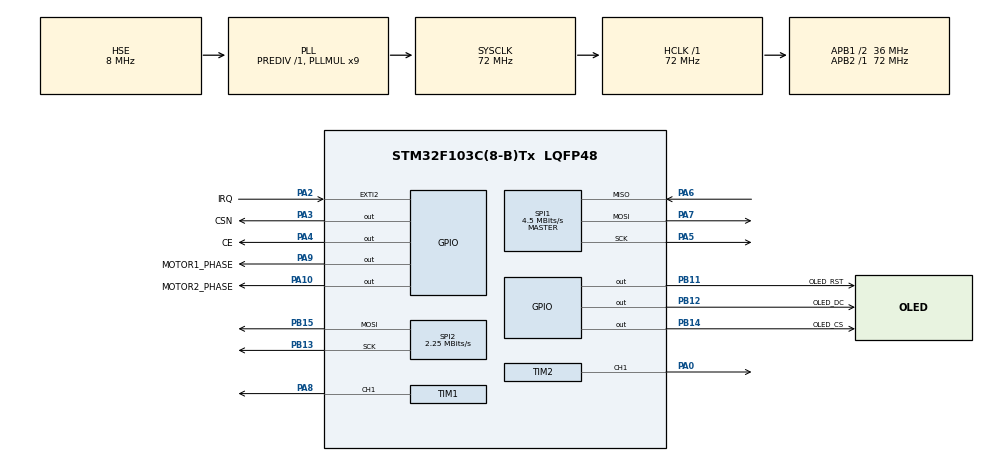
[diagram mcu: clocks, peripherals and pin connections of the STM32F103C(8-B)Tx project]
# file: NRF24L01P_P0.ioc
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Mcu.Family=STM32F1
Mcu.Name=STM32F103C(8-B)Tx
Mcu.Package=LQFP48
NVIC.EXTI2_IRQn=true\:0\:0\:false\:false\:true\:true\:true\:true
NVIC.PriorityGroup=NVIC_PRIORITYGROUP_4
PA0-WKUP.Signal=S_TIM2_CH1_ETR
PA10.GPIO_Label=MOTOR2_PHASE
PA10.GPIO_Speed=GPIO_SPEED_FREQ_HIGH
PA10.PinState=GPIO_PIN_SET
PA10.Signal=GPIO_Output
PA13.Mode=Serial_Wire
PA13.Signal=SYS_JTMS-SWDIO
PA14.Mode=Serial_Wire
PA14.Signal=SYS_JTCK-SWCLK
PA2.GPIO_Label=IRQ
PA2.GPIO_ModeDefaultEXTI=GPIO_MODE_IT_FALLING
PA2.GPIO_PuPd=GPIO_PULLUP
PA2.Signal=GPXTI2
PA3.GPIO_Label=CSN
PA3.GPIO_PuPd=GPIO_PULLUP
PA3.GPIO_Speed=GPIO_SPEED_FREQ_HIGH
PA3.PinState=GPIO_PIN_SET
PA3.Signal=GPIO_Output
PA4.GPIO_Label=CE
PA4.GPIO_PuPd=GPIO_PULLDOWN
PA4.GPIO_Speed=GPIO_SPEED_FREQ_HIGH
PA4.Signal=GPIO_Output
PA5.Mode=Full_Duplex_Master
PA5.Signal=SPI1_SCK
PA6.Mode=Full_Duplex_Master
PA6.Signal=SPI1_MISO
PA7.Mode=Full_Duplex_Master
PA7.Signal=SPI1_MOSI
PA8.Signal=S_TIM1_CH1
PA9.GPIO_Label=MOTOR1_PHASE
PA9.GPIO_Speed=GPIO_SPEED_FREQ_HIGH
PA9.Signal=GPIO_Output
PB11.GPIO_Label=OLED_RST
PB11.GPIO_PuPd=GPIO_PULLUP
PB11.GPIO_Speed=GPIO_SPEED_FREQ_HIGH
PB11.PinState=GPIO_PIN_SET
PB11.Signal=GPIO_Output
PB12.GPIO_Label=OLED_DC
PB12.GPIO_PuPd=GPIO_PULLUP
PB12.GPIO_Speed=GPIO_SPEED_FREQ_HIGH
PB12.PinState=GPIO_PIN_SET
PB12.Signal=GPIO_Output
PB13.Mode=TX_Only_Simplex_Unidirect_Master
PB13.Signal=SPI2_SCK
PB14.GPIO_Label=OLED_CS
PB14.GPIO_PuPd=GPIO_PULLUP
PB14.GPIO_Speed=GPIO_SPEED_FREQ_HIGH
PB14.PinState=GPIO_PIN_SET
PB14.Signal=GPIO_Output
PB15.Mode=TX_Only_Simplex_Unidirect_Master
PB15.Signal=SPI2_MOSI
PD0-OSC_IN.Mode=HSE-External-Oscillator
PD0-OSC_IN.Signal=RCC_OSC_IN
PD1-OSC_OUT.Mode=HSE-External-Oscillator
PD1-OSC_OUT.Signal=RCC_OSC_OUT
ProjectManager.HeapSize=0x200
ProjectManager.StackSize=0x400
ProjectManager.TargetToolchain=STM32CubeIDE
RCC.AHBFreq_Value=72000000
RCC.APB1CLKDivider=RCC_HCLK_DIV2
RCC.APB1Freq_Value=36000000
RCC.APB1TimFreq_Value=72000000
RCC.APB2Freq_Value=72000000
RCC.APB2TimFreq_Value=72000000
RCC.HCLKFreq_Value=72000000
RCC.PLLMUL=RCC_PLL_MUL9
RCC.PLLSourceVirtual=RCC_PLLSOURCE_HSE
RCC.SYSCLKFreq_VALUE=72000000
RCC.SYSCLKSource=RCC_SYSCLKSOURCE_PLLCLK
RCC.USBFreq_Value=72000000
SH.S_TIM1_CH1.0=TIM1_CH1,PWM Generation1 CH1
SH.S_TIM2_CH1_ETR.0=TIM2_CH1,PWM Generation1 CH1
SPI1.BaudRatePrescaler=SPI_BAUDRATEPRESCALER_16
SPI1.CalculateBaudRate=4.5 MBits/s
SPI1.Direction=SPI_DIRECTION_2LINES
SPI1.Mode=SPI_MODE_MASTER
SPI1.VirtualType=VM_MASTER
SPI2.BaudRatePrescaler=SPI_BAUDRATEPRESCALER_16
SPI2.CalculateBaudRate=2.25 MBits/s
SPI2.Direction=SPI_DIRECTION_2LINES
SPI2.Mode=SPI_MODE_MASTER
SPI2.VirtualType=VM_MASTER
TIM1.Channel-PWM\ Generation1\ CH1=TIM_CHANNEL_1
TIM1.Period=99
TIM1.Prescaler=35
TIM2.Channel-PWM\ Generation1\ CH1=TIM_CHANNEL_1
TIM2.Period=99
TIM2.Prescaler=35
VP_TIM1_VS_ClockSourceINT.Mode=Internal
VP_TIM2_VS_ClockSourceINT.Mode=Internal
board=custom

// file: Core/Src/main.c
/* USER CODE BEGIN Header */
/**
 ******************************************************************************
 * @file           : main.c
 * @brief          : Main program body
 ******************************************************************************
 * @attention
 *
 * Copyright (c) 2023 STMicroelectronics.
 * All rights reserved.
 *
 * This software is licensed under terms that can be found in the LICENSE file
 * in the root directory of this software component.
 * If no LICENSE file comes with this software, it is provided AS-IS.
 *
 ******************************************************************************
 */
/* USER CODE END Header */
#include "main.h"

/* USER CODE BEGIN Includes */
#include "stdio.h"
#include "stdlib.h"
#include "string.h"
#include "nrf24l01p.h"
//#include "uart.h"
#include "u8g2.h"

/* USER CODE END Includes */

SPI_HandleTypeDef hspi1;
SPI_HandleTypeDef hspi2;

TIM_HandleTypeDef htim1;
TIM_HandleTypeDef htim2;

/* USER CODE BEGIN PV */
uint8_t nrf24l01p_rx_flag = 0;

uint16_t adc_value1 = 0;
uint16_t adc_value2 = 0;
int16_t x = 0;
int16_t y = 0;

uint8_t buff[10];

//extern ring_buffer_t uart_rx;

//uint8_t address[5]={0xE7,0xE7,0xE7,0xE7,0xE7};

uint8_t P0_address[6] = "node0";
uint8_t P1_address[6] = "node1";

uint8_t rx_data[NRF24L01P_PAYLOAD_LENGTH] = { 0 };
//uint8_t tx_data[NRF24L01P_PAYLOAD_LENGTH] = { 0 };
/* USER CODE END PV */

void SystemClock_Config(void);
static void MX_GPIO_Init(void);
static void MX_SPI1_Init(void);
static void MX_SPI2_Init(void);
static void MX_TIM1_Init(void);
static void MX_TIM2_Init(void);
/* USER CODE BEGIN PFP */
void HAL_GPIO_EXTI_Callback(uint16_t GPIO_Pin);
/* USER CODE END PFP */

/* USER CODE BEGIN 0 */
extern uint8_t u8x8_stm32_gpio_and_delay(u8x8_t *u8x8, uint8_t msg,
		uint8_t arg_int, void *arg_ptr);
extern uint8_t u8x8_byte_stm32_hw_spi(u8x8_t *u8x8, uint8_t msg,
		uint8_t arg_int, void *arg_ptr);

static u8g2_t u8g2;
/* USER CODE END 0 */

int main(void) {

	/* MCU Configuration--------------------------------------------------------*/

	/* Reset of all peripherals, Initializes the Flash interface and the Systick. */
	HAL_Init();

	/* Configure the system clock */
	SystemClock_Config();

	/* Initialize all configured peripherals */
	MX_GPIO_Init();
	MX_SPI1_Init();
	MX_SPI2_Init();
	MX_TIM1_Init();
	MX_TIM2_Init();

	/* USER CODE BEGIN 2 */

	u8g2_Setup_ssd1306_128x64_noname_f(&u8g2, U8G2_R0, u8x8_byte_stm32_hw_spi,
			u8x8_stm32_gpio_and_delay);

	u8g2_InitDisplay(&u8g2);
	u8g2_SetPowerSave(&u8g2, 0);
	u8g2_SetFont(&u8g2, u8g2_font_inb16_mr);

	nrf24l01p_rx_init(2500, _1Mbps, P0_address, P1_address);
	nrf24l01p_prx_mode();

	HAL_TIM_PWM_Start(&htim1, TIM_CHANNEL_1);
	HAL_TIM_PWM_Start(&htim2, TIM_CHANNEL_1);

	/* USER CODE END 2 */

	/* Infinite loop */
	while (1) {

		/* USER CODE BEGIN 3 */
			if (nrf24l01p_rx_flag == 1) {

				nrf24l01p_rx_flag = 0;

				nrf24l01p_rx_receive(rx_data, sizeof(rx_data));

				adc_value1 = rx_data[0];
				adc_value1 |= (((uint16_t) rx_data[1]) << 8);

				adc_value2 = rx_data[2];
				adc_value2 |= (((uint16_t) rx_data[3]) << 8);

				x = adc_value1 - 2048;
				y = adc_value2 - 2048;

				memset(buff, 0, sizeof(buff));
				sprintf(buff, "%d,%d\n", y, x);

				u8g2_FirstPage(&u8g2);
				do {
					u8g2_DrawStr(&u8g2, 5, 21, (const char*) buff);
				} while (u8g2_NextPage(&u8g2));

				if (x >= 0) {
					HAL_GPIO_WritePin(MOTOR1_PHASE_GPIO_Port, MOTOR1_PHASE_Pin,
							GPIO_PIN_RESET);
					if (y >= 0) {
						HAL_GPIO_WritePin(MOTOR2_PHASE_GPIO_Port,
								MOTOR2_PHASE_Pin, GPIO_PIN_RESET);
						uint8_t i = 100 * x / 2048;
						uint8_t j = 100 * y / 2048;
						htim1.Instance->CCR1 = i;
						htim2.Instance->CCR1 = j;

					} else if (y < 0) {
						HAL_GPIO_WritePin(MOTOR2_PHASE_GPIO_Port,
								MOTOR2_PHASE_Pin, GPIO_PIN_SET);
						uint8_t i = 100 * x / 2048;
						uint8_t j = 100 * (y * (-1)) / 2048;
						htim1.Instance->CCR1 = i;
						htim2.Instance->CCR1 = j;
					}
				} else if (x < 0) {
					HAL_GPIO_WritePin(MOTOR1_PHASE_GPIO_Port, MOTOR1_PHASE_Pin,
							GPIO_PIN_SET);
					if (y >= 0) {
						HAL_GPIO_WritePin(MOTOR2_PHASE_GPIO_Port,
						MOTOR2_PHASE_Pin, GPIO_PIN_RESET);

						uint8_t i = 100 * (x * (-1)) / 2048;
						uint8_t j = 100 * y / 2048;
						htim1.Instance->CCR1 = i;
						htim2.Instance->CCR1 = j;
					} else if (y < 0) {
						HAL_GPIO_WritePin(MOTOR2_PHASE_GPIO_Port,
						MOTOR2_PHASE_Pin, GPIO_PIN_SET);

						uint8_t i = 100 * (x * (-1)) / 2048;
						uint8_t j = 100 * (y * (-1)) / 2048;
						htim1.Instance->CCR1 = i;
						htim2.Instance->CCR1 = j;
					}
				}

				HAL_Delay(100);
			}
	}
	/* USER CODE END 3 */
}

void SystemClock_Config(void) {
	RCC_OscInitTypeDef RCC_OscInitStruct = { 0 };
	RCC_ClkInitTypeDef RCC_ClkInitStruct = { 0 };

	/** Initializes the RCC Oscillators according to the specified parameters
	 * in the RCC_OscInitTypeDef structure.
	 */
	RCC_OscInitStruct.OscillatorType = RCC_OSCILLATORTYPE_HSE;
	RCC_OscInitStruct.HSEState = RCC_HSE_ON;
	RCC_OscInitStruct.HSEPredivValue = RCC_HSE_PREDIV_DIV1;
	RCC_OscInitStruct.HSIState = RCC_HSI_ON;
	RCC_OscInitStruct.PLL.PLLState = RCC_PLL_ON;
	RCC_OscInitStruct.PLL.PLLSource = RCC_PLLSOURCE_HSE;
	RCC_OscInitStruct.PLL.PLLMUL = RCC_PLL_MUL9;
	if (HAL_RCC_OscConfig(&RCC_OscInitStruct) != HAL_OK) {
		Error_Handler();
	}

	/** Initializes the CPU, AHB and APB buses clocks
	 */
	RCC_ClkInitStruct.ClockType = RCC_CLOCKTYPE_HCLK | RCC_CLOCKTYPE_SYSCLK
			| RCC_CLOCKTYPE_PCLK1 | RCC_CLOCKTYPE_PCLK2;
	RCC_ClkInitStruct.SYSCLKSource = RCC_SYSCLKSOURCE_PLLCLK;
	RCC_ClkInitStruct.AHBCLKDivider = RCC_SYSCLK_DIV1;
	RCC_ClkInitStruct.APB1CLKDivider = RCC_HCLK_DIV2;
	RCC_ClkInitStruct.APB2CLKDivider = RCC_HCLK_DIV1;

	if (HAL_RCC_ClockConfig(&RCC_ClkInitStruct, FLASH_LATENCY_2) != HAL_OK) {
		Error_Handler();
	}
}

static void MX_SPI1_Init(void) {

	/* SPI1 parameter configuration*/
	hspi1.Instance = SPI1;
	hspi1.Init.Mode = SPI_MODE_MASTER;
	hspi1.Init.Direction = SPI_DIRECTION_2LINES;
	hspi1.Init.DataSize = SPI_DATASIZE_8BIT;
	hspi1.Init.CLKPolarity = SPI_POLARITY_LOW;
	hspi1.Init.CLKPhase = SPI_PHASE_1EDGE;
	hspi1.Init.NSS = SPI_NSS_SOFT;
	hspi1.Init.BaudRatePrescaler = SPI_BAUDRATEPRESCALER_16;
	hspi1.Init.FirstBit = SPI_FIRSTBIT_MSB;
	hspi1.Init.TIMode = SPI_TIMODE_DISABLE;
	hspi1.Init.CRCCalculation = SPI_CRCCALCULATION_DISABLE;
	hspi1.Init.CRCPolynomial = 10;
	if (HAL_SPI_Init(&hspi1) != HAL_OK) {
		Error_Handler();
	}

}

static void MX_SPI2_Init(void) {

	/* SPI2 parameter configuration*/
	hspi2.Instance = SPI2;
	hspi2.Init.Mode = SPI_MODE_MASTER;
	hspi2.Init.Direction = SPI_DIRECTION_2LINES;
	hspi2.Init.DataSize = SPI_DATASIZE_8BIT;
	hspi2.Init.CLKPolarity = SPI_POLARITY_LOW;
	hspi2.Init.CLKPhase = SPI_PHASE_1EDGE;
	hspi2.Init.NSS = SPI_NSS_SOFT;
	hspi2.Init.BaudRatePrescaler = SPI_BAUDRATEPRESCALER_16;
	hspi2.Init.FirstBit = SPI_FIRSTBIT_MSB;
	hspi2.Init.TIMode = SPI_TIMODE_DISABLE;
	hspi2.Init.CRCCalculation = SPI_CRCCALCULATION_DISABLE;
	hspi2.Init.CRCPolynomial = 10;
	if (HAL_SPI_Init(&hspi2) != HAL_OK) {
		Error_Handler();
	}

}

static void MX_TIM1_Init(void) {

	TIM_ClockConfigTypeDef sClockSourceConfig = { 0 };
	TIM_MasterConfigTypeDef sMasterConfig = { 0 };
	TIM_OC_InitTypeDef sConfigOC = { 0 };
	TIM_BreakDeadTimeConfigTypeDef sBreakDeadTimeConfig = { 0 };

	htim1.Instance = TIM1;
	htim1.Init.Prescaler = 35;
	htim1.Init.CounterMode = TIM_COUNTERMODE_UP;
	htim1.Init.Period = 99;
	htim1.Init.ClockDivision = TIM_CLOCKDIVISION_DIV1;
	htim1.Init.RepetitionCounter = 0;
	htim1.Init.AutoReloadPreload = TIM_AUTORELOAD_PRELOAD_DISABLE;
	if (HAL_TIM_Base_Init(&htim1) != HAL_OK) {
		Error_Handler();
	}
	sClockSourceConfig.ClockSource = TIM_CLOCKSOURCE_INTERNAL;
	if (HAL_TIM_ConfigClockSource(&htim1, &sClockSourceConfig) != HAL_OK) {
		Error_Handler();
	}
	if (HAL_TIM_PWM_Init(&htim1) != HAL_OK) {
		Error_Handler();
	}
	sMasterConfig.MasterOutputTrigger = TIM_TRGO_RESET;
	sMasterConfig.MasterSlaveMode = TIM_MASTERSLAVEMODE_DISABLE;
	if (HAL_TIMEx_MasterConfigSynchronization(&htim1, &sMasterConfig)
			!= HAL_OK) {
		Error_Handler();
	}
	sConfigOC.OCMode = TIM_OCMODE_PWM1;
	sConfigOC.Pulse = 0;
	sConfigOC.OCPolarity = TIM_OCPOLARITY_HIGH;
	sConfigOC.OCNPolarity = TIM_OCNPOLARITY_HIGH;
	sConfigOC.OCFastMode = TIM_OCFAST_DISABLE;
	sConfigOC.OCIdleState = TIM_OCIDLESTATE_RESET;
	sConfigOC.OCNIdleState = TIM_OCNIDLESTATE_RESET;
	if (HAL_TIM_PWM_ConfigChannel(&htim1, &sConfigOC, TIM_CHANNEL_1)
			!= HAL_OK) {
		Error_Handler();
	}
	sBreakDeadTimeConfig.OffStateRunMode = TIM_OSSR_DISABLE;
	sBreakDeadTimeConfig.OffStateIDLEMode = TIM_OSSI_DISABLE;
	sBreakDeadTimeConfig.LockLevel = TIM_LOCKLEVEL_OFF;
	sBreakDeadTimeConfig.DeadTime = 0;
	sBreakDeadTimeConfig.BreakState = TIM_BREAK_DISABLE;
	sBreakDeadTimeConfig.BreakPolarity = TIM_BREAKPOLARITY_HIGH;
	sBreakDeadTimeConfig.AutomaticOutput = TIM_AUTOMATICOUTPUT_DISABLE;
	if (HAL_TIMEx_ConfigBreakDeadTime(&htim1, &sBreakDeadTimeConfig)
			!= HAL_OK) {
		Error_Handler();
	}
	HAL_TIM_MspPostInit(&htim1);

}

static void MX_TIM2_Init(void) {

	TIM_ClockConfigTypeDef sClockSourceConfig = { 0 };
	TIM_MasterConfigTypeDef sMasterConfig = { 0 };
	TIM_OC_InitTypeDef sConfigOC = { 0 };

	htim2.Instance = TIM2;
	htim2.Init.Prescaler = 35;
	htim2.Init.CounterMode = TIM_COUNTERMODE_UP;
	htim2.Init.Period = 99;
	htim2.Init.ClockDivision = TIM_CLOCKDIVISION_DIV1;
	htim2.Init.AutoReloadPreload = TIM_AUTORELOAD_PRELOAD_DISABLE;
	if (HAL_TIM_Base_Init(&htim2) != HAL_OK) {
		Error_Handler();
	}
	sClockSourceConfig.ClockSource = TIM_CLOCKSOURCE_INTERNAL;
	if (HAL_TIM_ConfigClockSource(&htim2, &sClockSourceConfig) != HAL_OK) {
		Error_Handler();
	}
	if (HAL_TIM_PWM_Init(&htim2) != HAL_OK) {
		Error_Handler();
	}
	sMasterConfig.MasterOutputTrigger = TIM_TRGO_RESET;
	sMasterConfig.MasterSlaveMode = TIM_MASTERSLAVEMODE_DISABLE;
	if (HAL_TIMEx_MasterConfigSynchronization(&htim2, &sMasterConfig)
			!= HAL_OK) {
		Error_Handler();
	}
	sConfigOC.OCMode = TIM_OCMODE_PWM1;
	sConfigOC.Pulse = 0;
	sConfigOC.OCPolarity = TIM_OCPOLARITY_HIGH;
	sConfigOC.OCFastMode = TIM_OCFAST_DISABLE;
	if (HAL_TIM_PWM_ConfigChannel(&htim2, &sConfigOC, TIM_CHANNEL_1)
			!= HAL_OK) {
		Error_Handler();
	}
	HAL_TIM_MspPostInit(&htim2);

}

static void MX_GPIO_Init(void) {
	GPIO_InitTypeDef GPIO_InitStruct = { 0 };

	/* GPIO Ports Clock Enable */
	__HAL_RCC_GPIOD_CLK_ENABLE();
	__HAL_RCC_GPIOA_CLK_ENABLE();
	__HAL_RCC_GPIOB_CLK_ENABLE();

	/*Configure GPIO pin Output Level */
	HAL_GPIO_WritePin(GPIOA, CSN_Pin | MOTOR2_PHASE_Pin, GPIO_PIN_SET);

	/*Configure GPIO pin Output Level */
	HAL_GPIO_WritePin(GPIOA, CE_Pin | MOTOR1_PHASE_Pin, GPIO_PIN_RESET);

	/*Configure GPIO pin Output Level */
	HAL_GPIO_WritePin(GPIOB, OLED_RST_Pin | OLED_DC_Pin | OLED_CS_Pin,
			GPIO_PIN_SET);

	/*Configure GPIO pin : IRQ_Pin */
	GPIO_InitStruct.Pin = IRQ_Pin;
	GPIO_InitStruct.Mode = GPIO_MODE_IT_FALLING;
	GPIO_InitStruct.Pull = GPIO_PULLUP;
	HAL_GPIO_Init(IRQ_GPIO_Port, &GPIO_InitStruct);

	/*Configure GPIO pin : CSN_Pin */
	GPIO_InitStruct.Pin = CSN_Pin;
	GPIO_InitStruct.Mode = GPIO_MODE_OUTPUT_PP;
	GPIO_InitStruct.Pull = GPIO_PULLUP;
	GPIO_InitStruct.Speed = GPIO_SPEED_FREQ_HIGH;
	HAL_GPIO_Init(CSN_GPIO_Port, &GPIO_InitStruct);

	/*Configure GPIO pin : CE_Pin */
	GPIO_InitStruct.Pin = CE_Pin;
	GPIO_InitStruct.Mode = GPIO_MODE_OUTPUT_PP;
	GPIO_InitStruct.Pull = GPIO_PULLDOWN;
	GPIO_InitStruct.Speed = GPIO_SPEED_FREQ_HIGH;
	HAL_GPIO_Init(CE_GPIO_Port, &GPIO_InitStruct);

	/*Configure GPIO pins : OLED_RST_Pin OLED_DC_Pin OLED_CS_Pin */
	GPIO_InitStruct.Pin = OLED_RST_Pin | OLED_DC_Pin | OLED_CS_Pin;
	GPIO_InitStruct.Mode = GPIO_MODE_OUTPUT_PP;
	GPIO_InitStruct.Pull = GPIO_PULLUP;
	GPIO_InitStruct.Speed = GPIO_SPEED_FREQ_HIGH;
	HAL_GPIO_Init(GPIOB, &GPIO_InitStruct);

	/*Configure GPIO pins : MOTOR1_PHASE_Pin MOTOR2_PHASE_Pin */
	GPIO_InitStruct.Pin = MOTOR1_PHASE_Pin | MOTOR2_PHASE_Pin;
	GPIO_InitStruct.Mode = GPIO_MODE_OUTPUT_PP;
	GPIO_InitStruct.Pull = GPIO_NOPULL;
	GPIO_InitStruct.Speed = GPIO_SPEED_FREQ_HIGH;
	HAL_GPIO_Init(GPIOA, &GPIO_InitStruct);

	/* EXTI interrupt init*/
	HAL_NVIC_SetPriority(EXTI2_IRQn, 0, 0);
	HAL_NVIC_EnableIRQ(EXTI2_IRQn);

}

/* USER CODE BEGIN 4 */
void HAL_GPIO_EXTI_Callback(uint16_t GPIO_Pin) {
	if (GPIO_Pin == NRF24L01P_IRQ_PIN_NUMBER) {
		nrf24l01p_rx_flag = 1;
	}
}
/* USER CODE END 4 */

void Error_Handler(void) {
	__disable_irq();
	while (1) {
	}
}
